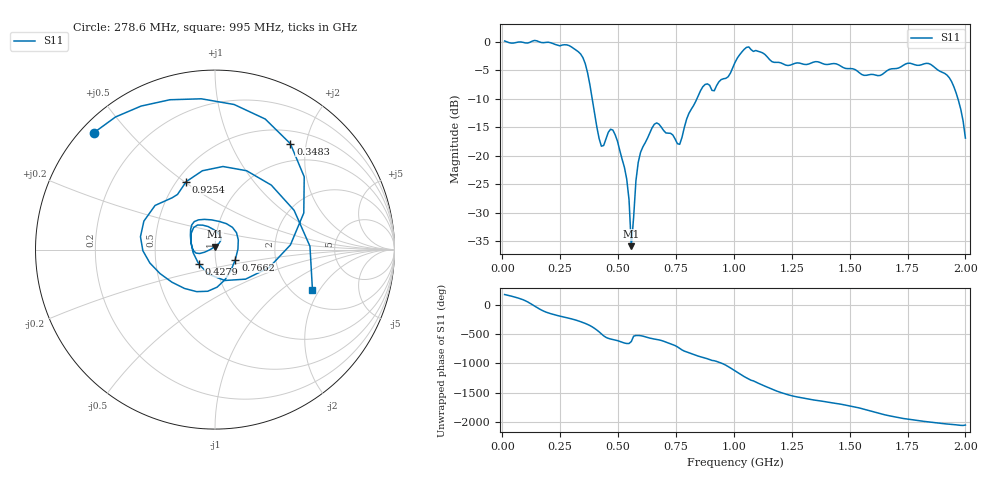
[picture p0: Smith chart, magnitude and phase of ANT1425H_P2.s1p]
!Created with skrf (http://scikit-rf.org).
# Hz S RI R 50.0
!freq ReS11 ImS11
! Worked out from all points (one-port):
!   201 points, 10 MHz to 2 GHz, reference 50 ohm
!   lowest |S11| = -35.8 dB at 557.2 MHz (marker M1), VSWR 1.03, Z = 49.9 + j1.61 ohm
!   |S11| at or under -10 dB: 388.2 MHz to 840.5 MHz (452.3 MHz wide, 73.6 % of centre); 1.968 GHz to end of sweep
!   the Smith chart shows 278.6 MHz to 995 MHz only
!   S11 on the Smith chart (normalised r, x): 278.6 MHz: 0.04, +0.40; 348.3 MHz: 0.69, +1.72; 427.9 MHz: 0.82, -0.14; 766.2 MHz: 1.25, -0.14; 925.4 MHz: 0.56, +0.51; 995 MHz: 2.51, -1.74
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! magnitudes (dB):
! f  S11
! 10 MHz  0.1
! 258.8 MHz  -0.6
! 278.6 MHz  -0.6
! 348.3 MHz  -2.8
! 427.9 MHz  -18.3
! 467.7 MHz  -15.3
! 507.5 MHz  -19.1
! 537.4 MHz  -24.1
! 547.3 MHz  -27.7
! 557.2 MHz  -35.8
! 577.1 MHz  -24.4
! 607 MHz  -18.4
! 666.7 MHz  -14.2
! 756.2 MHz  -17.9
! 766.2 MHz  -18.0
! 806 MHz  -12.6
! 865.7 MHz  -7.9
! 925.4 MHz  -7.7
! 995 MHz  -4.6
! 1.005 GHz  -3.6
! 1.065 GHz  -0.9
! 1.254 GHz  -3.9
! 1.502 GHz  -4.7
! 1.632 GHz  -5.9
! 1.751 GHz  -3.8
! 1.93 GHz  -6.3
! 1.97 GHz  -10.3
! 2 GHz  -16.9
